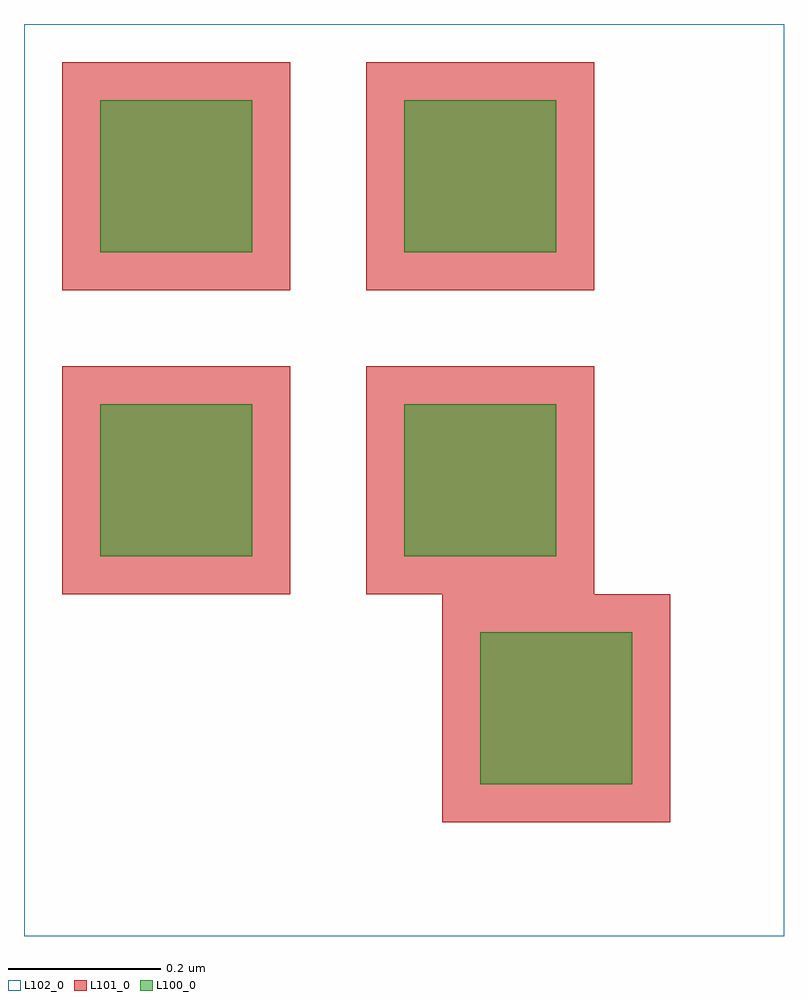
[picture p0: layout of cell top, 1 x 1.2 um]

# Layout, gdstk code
import gdstk
lib = gdstk.Library(unit=1e-6, precision=1e-09)
def R(c, l, rs):  # rectangles x0, y0, x1, y1
    for r in rs: c.add(gdstk.rectangle(r[:2], r[2:], *l))
L100_0 = (100, 0)
L101_0 = (101, 0)
L102_0 = (102, 0)

child = lib.new_cell('child')
R(child, L100_0, [(0.1,0.1,0.3,0.3), (0.5,0.1,0.7,0.3), (0.1,0.5,0.3,0.7), (0.5,0.5,0.7,0.7)])
R(child, L101_0, [(0.05,0.05,0.35,0.35), (0.45,0.05,0.75,0.35), (0.05,0.45,0.35,0.75), (0.45,0.45,0.75,0.75)])
R(child, L102_0, [(0,0,0.8,0.8)])

top = lib.new_cell('top')
R(top, L100_0, [(1,0.2,1.2,0.4)])
R(top, L101_0, [(0.95,0.15,1.25,0.45)])
R(top, L102_0, [(0.4,0,1.4,1.2)])
top.add(gdstk.Reference(child, (0.4,0.4)))

lib.write_gds('top.gds')
